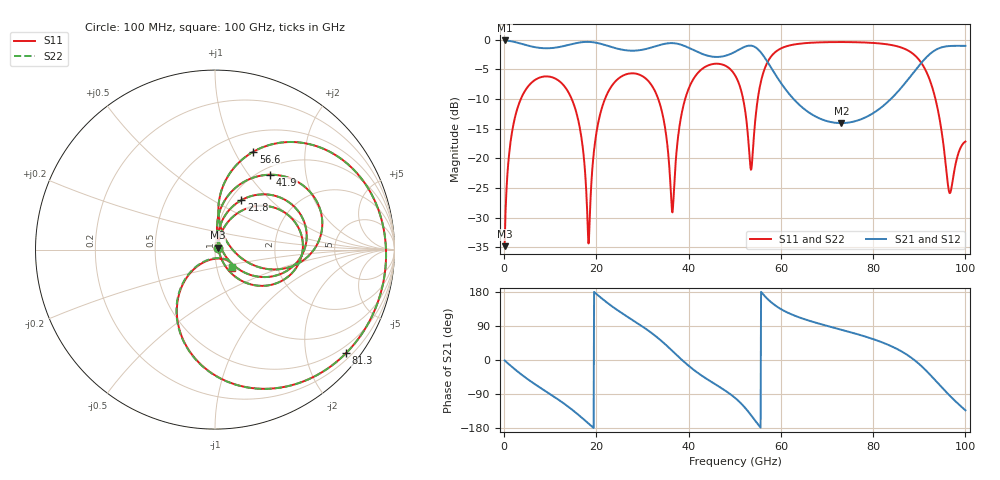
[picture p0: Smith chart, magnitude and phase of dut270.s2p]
! Touchstone file exported from HFSS 2026.1.0
!  File:  C:/ffzhzh/LocalFiles/Ansys_Project_Files/temp_train_TSV_RDL_270_1783674999_29156.aedt
!  Generated:  05:26:10 PM Jul 10, 2026
!  Design:  TSV_RDL
!  Project:  temp_train_TSV_RDL_270_1783674999_29156
! Variables:
!  h_bsmrdl = 2um
!  h_ox = 20um
!  h_rdl = 5um
!  h_sub = 53.6um
!  h_tmrdl = 4.63um
!  h_tsv = 53.6um
!  h_via = 3um
!  l_bsmrdl = 107.68um
!  l_sub = 3122.08um
!  l_tmrdl = 568.68um
!  m_sub = 200um
!  pitch = 43.81um
!  r_tsv = 13.26um
!  s_tmrdl = 10um
!  w_bsmrdl = 26.44um
!  w_sub = 500um
!  w_tmrdl = 15um
!  x_tsv_center1 = 576.18um
!  x_tsv_center2 = 710.3um
!  x_tsv_center3 = 1293.98um
!  x_tsv_center4 = 1428.1um
!  x_tsv_center5 = 2011.78um
!  x_tsv_center6 = 2145.9um
# GHz S MA R 50.000000
! Terminal data exported
! Port[1] = TM_RDL1_1_T1
! Port[2] = TM_RDL5_1_T1
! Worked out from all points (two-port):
!   1000 points, 100 MHz to 100 GHz, reference 50 ohm
!   highest |S21| = -0.13 dB at 100 MHz (marker M1); lowest = -14.1 dB at 73.1 GHz (marker M2)
!   |S21| within 3 dB of the highest: start of sweep to 56.58 GHz; 91.34 GHz to end of sweep
!   lowest |S11| = -34.8 dB at 100 MHz (marker M3), VSWR 1.04, Z = 51.5 + j1.08 ohm
!   |S11| at or under -10 dB: 14.65 GHz to 21.85 GHz (7.201 GHz wide, 39.5 % of centre); 33.41 GHz to 39.24 GHz (5.829 GHz wide, 16 % of centre); 93.51 GHz to end of sweep (the widest 3 of 5)
!   |S22| runs from -34.8 to -0.4 dB; largest |S21 - S12| = 3.7e-13
!   S11 on the Smith chart (normalised r, x): 100 MHz: 1.03, +0.02; 21.8 GHz: 1.12, +0.69; 41.9 GHz: 1.12, +1.28; 56.6 GHz: 0.72, +1.19; 81.3 GHz: 0.33, -2.84; 100 GHz: 1.18, -0.24
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0.1  0.01818 35.1  0.9853 -1.1  0.9853 -1.1  0.01818 35.1
! Gamma 0 0 0 0
! Port Impedance 50 0 50 0
1.8  0.1747 64.5  0.9655 -19.2  0.9655 -19.2  0.1747 64.5
5.5  0.4173 32.9  0.8849 -54.1  0.8849 -54.1  0.4173 32.9
12.6  0.4247 -22.4  0.8778 -111.7  0.8778 -111.7  0.4247 -22.3
16.8  0.1455 -56.4  0.9521 -151.8  0.9521 -151.8  0.1455 -56.3
18.4  0.02123 35.0  0.9583 -168.8  0.9583 -168.8  0.02155 34.7
21.8  0.3125 61.9  0.9035 156.3  0.9035 156.3  0.3125 61.9
28.1  0.5203 12.5  0.8081 103.4  0.8081 103.4  0.5203 12.5
33.4  0.3171 -28.9  0.894 57.5  0.894 57.5  0.3171 -28.8
36.5  0.03502 29.0  0.9355 23.6  0.9355 23.6  0.03539 29.0
38.6  0.2506 80.9  0.9009 -0.4  0.9009 -0.4  0.2507 80.8
41.9  0.5194 53.5  0.7889 -33.2  0.7889 -33.2  0.5195 53.4
50.1  0.4982 -6.6  0.792 -100.4  0.792 -100.4  0.4981 -6.7
53.5  0.08006 27.7  0.8911 -145.1  0.8911 -145.1  0.07939 27.7
56.6  0.5856 68.6  0.6957 167.3  0.6957 167.3  0.5855 68.7
66.7  0.9434 9.7  0.2347 101.6  0.2347 101.6  0.9434 9.7
73.1  0.9554 -10.3  0.1982 79.9  0.1982 79.9  0.9554 -10.3
81.3  0.9306 -38.3  0.2601 49.6  0.2601 49.6  0.9306 -38.4
83.4  0.9097 -47.8  0.3047 39.3  0.3047 39.3  0.9096 -47.8
92.1  0.4772 -115.0  0.7452 -35.7  0.7452 -35.7  0.4767 -115.4
96.5  0.05169 -93.9  0.884 -92.9  0.884 -92.9  0.04862 -94.0
100  0.1384 -46.6  0.8874 -132.7  0.8874 -132.7  0.1382 -45.8
